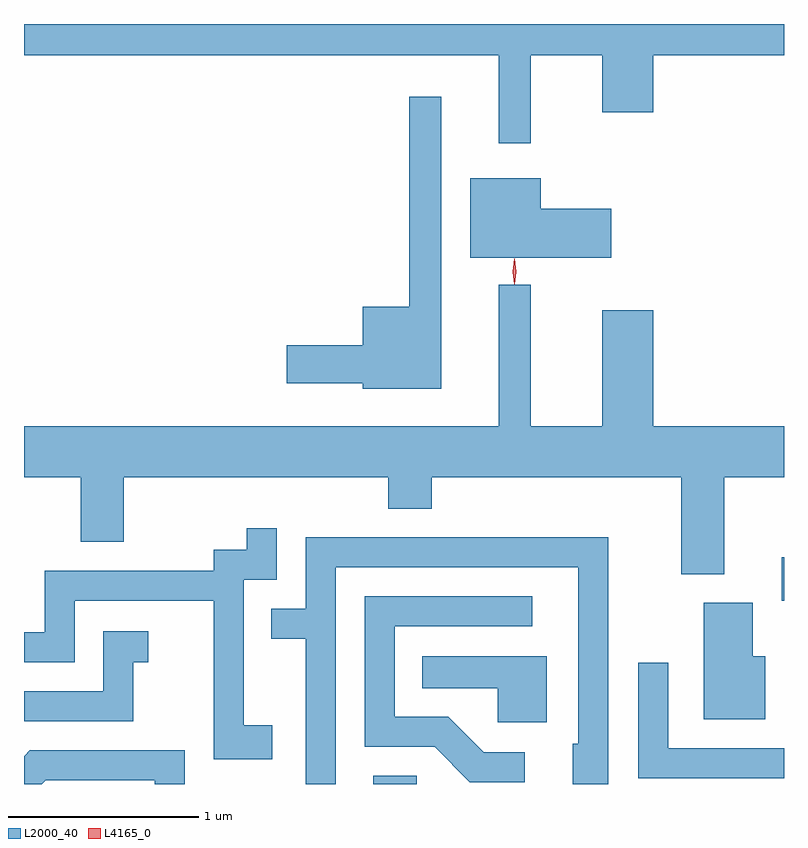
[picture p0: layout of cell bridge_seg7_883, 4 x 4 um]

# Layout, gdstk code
import gdstk
lib = gdstk.Library(unit=1e-6, precision=1e-09)
def R(c, l, rs):  # rectangles x0, y0, x1, y1
    for r in rs: c.add(gdstk.rectangle(r[:2], r[2:], *l))
def P(c, l, *ps):  # polygons
    for p in ps: c.add(gdstk.Polygon(p, *l))
L2000_40 = (2000, 40)
L4165_0 = (4165, 0)

bridge_seg7_883 = lib.new_cell('bridge_seg7_883')
R(bridge_seg7_883, L2000_40, [(473.611,1672.741,473.839,1672.784), (475.761,1673.706,475.773,1673.934)])
P(bridge_seg7_883, L2000_40, [(474.439,1676.576),(474.816,1676.576),(474.816,1676.276),(475.084,1676.276),(475.084,1676.576),(475.773,1676.576),(475.773,1676.741),(471.773,1676.741),(471.773,1676.576),(474.271,1676.576),(474.271,1676.113),(474.439,1676.113)],
  [(473.969,1676.358),(473.801,1676.358),(473.801,1675.254),(473.556,1675.254),(473.556,1675.049),(473.156,1675.049),(473.156,1674.851),(473.556,1674.851),(473.556,1674.821),(473.969,1674.821)],
  [(474.864,1675.769),(474.494,1675.769),(474.494,1675.929),(474.121,1675.929),(474.121,1675.511),(474.864,1675.511)],
  [(475.459,1674.356),(475.773,1674.356),(475.773,1674.624),(475.084,1674.624),(475.084,1675.234),(474.816,1675.234),(474.816,1674.624),(474.439,1674.624),(474.439,1675.368),(474.271,1675.368),(474.271,1674.624),(471.773,1674.624),(471.773,1674.356),(472.071,1674.356),(472.071,1674.016),(472.299,1674.016),(472.299,1674.356),(473.691,1674.356),(473.691,1674.191),(473.919,1674.191),(473.919,1674.356),(475.231,1674.356),(475.231,1673.846),(475.459,1673.846)],
  [(473.079,1673.049),(472.929,1673.049),(472.929,1673.816),(473.104,1673.816),(473.104,1674.088),(472.946,1674.088),(472.946,1673.974),(472.771,1673.974),(472.771,1673.864),(471.881,1673.864),(471.881,1673.539),(471.773,1673.539),(471.773,1673.381),(472.039,1673.381),(472.039,1673.706),(472.771,1673.706),(472.771,1672.871),(473.079,1672.871)],
  [(473.414,1673.881),(474.691,1673.881),(474.691,1672.954),(474.661,1672.954),(474.661,1672.741),(474.849,1672.741),(474.849,1674.039),(473.256,1674.039),(473.256,1673.664),(473.073,1673.664),(473.073,1673.506),(473.256,1673.506),(473.256,1672.741),(473.414,1672.741)],
  [(474.408,1672.909),(474.192,1672.909),(474.007,1673.094),(473.724,1673.094),(473.724,1673.571),(474.448,1673.571),(474.448,1673.729),(473.566,1673.729),(473.566,1672.936),(473.934,1672.936),(474.119,1672.751),(474.408,1672.751)],
  [(475.674,1673.414),(475.609,1673.414),(475.609,1673.694),(475.351,1673.694),(475.351,1673.081),(475.674,1673.081)],
  [(472.349,1673.381),(472.428,1673.381),(472.428,1673.544),(472.191,1673.544),(472.191,1673.229),(471.773,1673.229),(471.773,1673.071),(472.349,1673.071)],
  [(474.524,1673.414),(473.868,1673.414),(473.868,1673.246),(474.266,1673.246),(474.266,1673.066),(474.524,1673.066)],
  [(475.773,1672.929),(475.164,1672.929),(475.164,1673.378),(475.006,1673.378),(475.006,1672.771),(475.773,1672.771)],
  [(471.887,1672.761),(472.461,1672.761),(472.461,1672.741),(472.619,1672.741),(472.619,1672.919),(471.804,1672.919),(471.773,1672.888),(471.773,1672.741),(471.867,1672.741)])
P(bridge_seg7_883, L4165_0, [(474.354,1675.37),(474.345,1675.438),(474.354,1675.505),(474.354,1675.506),(474.355,1675.505),(474.364,1675.438),(474.355,1675.37),(474.355,1675.37)],
  [(474.354,1675.373),(474.345,1675.436),(474.354,1675.499),(474.354,1675.5),(474.355,1675.499),(474.365,1675.436),(474.355,1675.373),(474.355,1675.373)])

lib.write_gds('bridge_seg7_883.gds')
